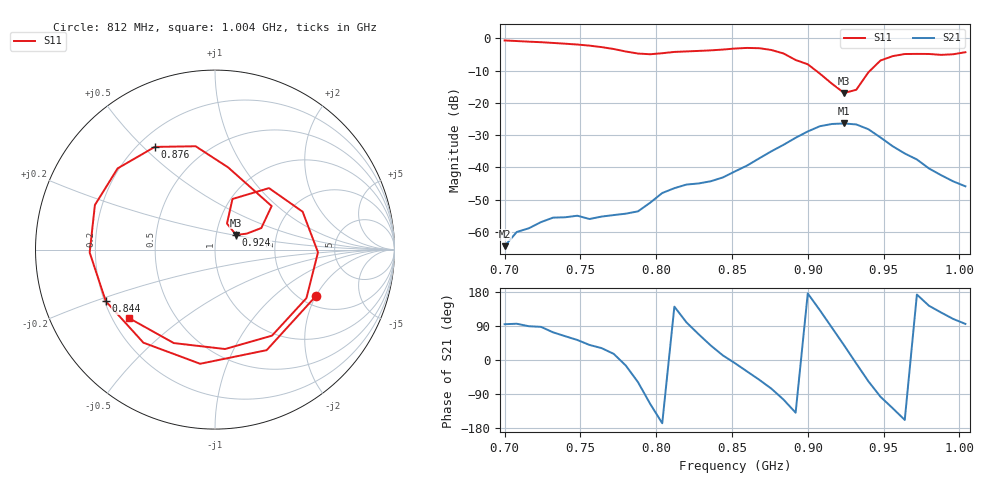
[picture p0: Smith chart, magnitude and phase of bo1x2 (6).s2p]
# Hz S RI R 50
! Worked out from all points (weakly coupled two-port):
!   39 points, 700 MHz to 1.004 GHz, reference 50 ohm
!   highest |S21| = -26.37 dB at 924 MHz (marker M1); lowest = -64.4 dB at 700 MHz (marker M2)
!   lowest |S11| = -16.9 dB at 924 MHz (marker M3), VSWR 1.33, Z = 62.3 + j10.4 ohm
!   |S11| at or under -10 dB: 905.5 MHz to 941.1 MHz (35.6 MHz wide, 3.86 % of centre)
!   S12 and S22 are empty: the file has one direction only
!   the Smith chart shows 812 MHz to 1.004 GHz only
!   S11 on the Smith chart (normalised r, x): 812 MHz: 2.37, -2.00; 844 MHz: 0.21, -0.22; 876 MHz: 0.27, +0.54; 924 MHz: 1.25, +0.21; 1.004 GHz: 0.27, -0.33
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7e8  0.7454 0.5591  -4.64e-05 0.000599  0 0  0 0
7.24e8  0.8438 -0.2337  6.24e-05 0.00142  0 0  0 0
7.4e8  0.4622 -0.6888  0.000772 0.0015  0 0  0 0
7.56e8  -0.1781 -0.7536  0.00122 0.00101  0 0  0 0
7.72e8  -0.6542 -0.2079  0.00175 0.000506  0 0  0 0
7.8e8  -0.59 0.2128  0.00185 -0.000491  0 0  0 0
7.88e8  -0.2524 0.5266  0.00109 -0.00178  0 0  0 0
7.96e8  0.2278 0.5218  -0.00122 -0.00256  0 0  0 0
8.04e8  0.5595 0.1897  -0.00391 -0.000904  0 0  0 0
8.12e8  0.5612 -0.26  -0.00369 0.00301  0 0  0 0
8.28e8  -0.0826 -0.6361  0.00211 0.00523  0 0  0 0
8.44e8  -0.6083 -0.2876  0.00683 0.00147  0 0  0 0
8.52e8  -0.6982 -0.0169  0.00859 -0.00128  0 0  0 0
8.76e8  -0.3355 0.5722  0.00443 -0.0172  0 0  0 0
9e8  0.3156 0.2425  -0.036 0.00272  0 0  0 0
9.08e8  0.2582 0.1202  -0.0287 0.0327  0 0  0 0
9.24e8  0.1172 0.0816  0.0375 0.03  0 0  0 0
9.4e8  0.0974 0.282  0.0217 -0.0325  0 0  0 0
9.56e8  0.4884 0.211  -0.0129 -0.017  0 0  0 0
9.64e8  0.5738 -0.0153  -0.0153 -0.00611  0 0  0 0
9.8e8  0.3175 -0.4794  -0.0077 0.00578  0 0  0 0
1.004e9  -0.479 -0.3818  -0.000467 0.00507  0 0  0 0
